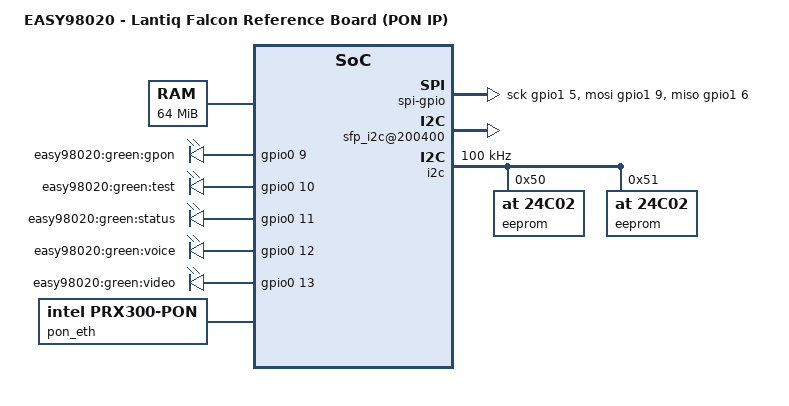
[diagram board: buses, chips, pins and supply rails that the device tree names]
/dts-v1/;

#include <dt-bindings/interrupt-controller/irq.h>
#include <dt-bindings/gpio/gpio.h>
#include "falcon.dtsi"
#include "falcon-sflash-16M.dtsi"

/ {
	model = "EASY98020 - Lantiq Falcon Reference Board (PON IP)";
	compatible = "lantiq,falcon-easy98020-ponip", "lantiq,falcon-easy98020", "lantiq,falcon";

	chosen {
		bootargs = "console=ttyLTQ0,115200 init=/etc/preinit";
	};

	aliases {
		spi0 = &ebu_cs0;
	};

	memory@0 {
		device_type = "memory";
		reg = <0x0 0x4000000>;  // 64M at 0x0
	};

	pinctrl {
		led_pins: phy-led-pins {
			lantiq,pins = "io42", "io41", "io38", "io37";
			lantiq,function = "gpio";
		};
	};

	easy98020-leds {
		compatible = "gpio-leds";
		pinctrl-names = "default";
		pinctrl-0 = <&bootled_pins>;

		GPON {
			label = "easy98020:green:gpon";
			gpios = <&gpio0 9 GPIO_ACTIVE_HIGH>;
			default-state = "keep";
		};
		TEST {
			label = "easy98020:green:test";
			gpios = <&gpio0 10 GPIO_ACTIVE_HIGH>;
			default-state = "keep";
		};
		ETH {
			label = "easy98020:green:status";
			gpios = <&gpio0 11 GPIO_ACTIVE_HIGH>;
			default-state = "keep";
		};
		VOICE {
			label = "easy98020:green:voice";
			gpios = <&gpio0 12 GPIO_ACTIVE_HIGH>;
			default-state = "keep";
		};
		VIDEO {
			label = "easy98020:green:video";
			gpios = <&gpio0 13 GPIO_ACTIVE_HIGH>;
			default-state = "keep";
		};
	};

	spi-gpio {
		compatible = "spi-gpio";
		#address-cells = <0x1>;
		ranges;

		gpio-sck = <&gpio1 5 GPIO_ACTIVE_HIGH>;
		gpio-miso = <&gpio1 6 GPIO_ACTIVE_HIGH>;
		gpio-mosi = <&gpio1 9 GPIO_ACTIVE_HIGH>;
		cs-gpios = <&gpio1 10 GPIO_ACTIVE_LOW>;
		num-chipselects = <1>;

		ponmbox@1 {
			compatible = "intel,prx300-pon-mbox";
			reg = <0>;
			spi-max-frequency = <100000>;
			spi-cpha;
			spi-cpol;

			interrupts = <1 IRQ_TYPE_LEVEL_HIGH>;
			interrupt-parent = <&gpio0>;
		};
	};

	/* to load the dummy driver, HW is not in chip */
	pon_eth: pon_ethernet@2 {
		compatible = "intel,prx300-pon";
		reg = <2>;
	};

	sbs0@1F000000 {
		sfp_i2c@200400 {
			compatible = "intel,pon-sfp-i2c";
			/* mark this as simulation without HW */
			intel,simulate;
			reg = <0x200400 0x400>,
			      <0x200800 0x800>,
			      <0x201000 0x800>,
			      <0x201800 0x800>,
			      <0x202000 0x1000>,
			      <0x204000 0x4000>;
			reg-names = "genrisc-reg",
				    "host-reg",
				    "mac-ht-reg",
				    "aca-mem",
				    "spram",
				    "iram";
		};
	};
};

&i2c {
	status = "okay";
	clock-frequency = <100000>;

	eeprom@50 {
		compatible = "at,24c02";
		reg = <0x50>;
	};
	eeprom@51 {
		compatible = "at,24c02";
		reg = <0x51>;
	};
};
